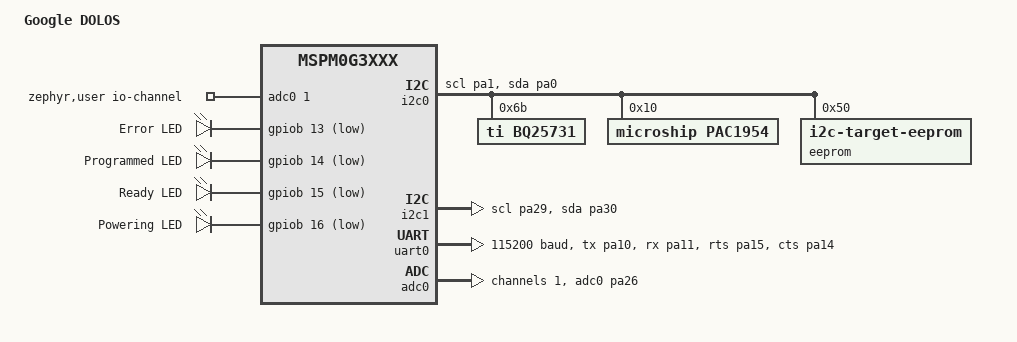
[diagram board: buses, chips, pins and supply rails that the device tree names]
/* Copyright 2024 The ChromiumOS Authors
 * Use of this source code is governed by a BSD-style license that can be
 * found in the LICENSE file.
 */

/dts-v1/;

#include <ti/mspm0g1x0x_g3x0x/mspm0g3507.dtsi>
#include "mspm0g3507-pinctrl.dtsi"
#include "dt-bindings/adc/mspm0_adc.h"

#include <freq.h>

/ {
	model = "Google DOLOS";
	compatible = "google,dolos", "ti,mspm0g3507", "ti,mspm0g3xxx";

	chosen {
		zephyr,sram = &sram0;
		zephyr,flash = &flash0;
		zephyr,console = &uart0;
		zephyr,shell-uart = &uart0;
	};

	zephyr,user {
		io-channels = <&adc0 1>;
	};

	leds: leds {
		compatible = "gpio-leds";
		lederr: led_error {
			gpios = <&gpiob 13 GPIO_ACTIVE_LOW>;
			label = "Error LED";
		};
		ledprg: led_programmed {
			gpios = <&gpiob 14 GPIO_ACTIVE_LOW>;
			label = "Programmed LED";
		};
		ledrdy: led_ready {
			gpios = <&gpiob 15 GPIO_ACTIVE_LOW>;
			label = "Ready LED";
		};
		ledpwr: led_powering {
			gpios = <&gpiob 16 GPIO_ACTIVE_LOW>;
			label = "Powering LED";
		};
	};

	ctrl-pins {
		compatible = "ctrl-pins";
		output_enable: output_enable {
			gpios = <&gpiob 12 GPIO_ACTIVE_HIGH>;
			label = "Dolos output enable control pin";
		};
		system_present: system_present {
			gpios = <&gpioa 13 GPIO_ACTIVE_HIGH>;
			label = "System present input signal";
		};
		efuse_pg: efuse_pg {
			gpios = <&gpiob 27 GPIO_ACTIVE_HIGH>;
			label = "EFUSE power good input signal";
		};
		bq_charge_ok: bq_charge_ok {
			gpios = <&gpioa 17 GPIO_ACTIVE_HIGH>;
			label = "BQ Charge OK input signal";
		};
	};
};

&i2c0 {
	pinctrl-0 = <&i2c0_scl_pa1 &i2c0_sda_pa0>;
	pinctrl-names = "default";
	status = "okay";

	bq25731: bq25731@6b {
		compatible = "ti,bq25731";
		reg = <0x6b>;
	};

	pac1954: pac1954@10 {
		compatible = "microship,pac1954";
		reg = <0x10>;
	};

	eeprom: eeprom@50 {
		compatible = "zephyr,i2c-target-eeprom";
		reg = <0x50>;
		size = <1024>;
	};
};

&i2c1 {
	pinctrl-0 = <&i2c1_scl_pa29 &i2c1_sda_pa30>;
	pinctrl-names = "default";
	status = "okay";
};

&cpu0 {
	clock-frequency = <DT_FREQ_M(32)>;
};

&gpioa {
	status = "okay";
};

&gpiob {
	status = "okay";
};

&uart0 {
	status = "okay";
	current-speed = <115200>;
	pinctrl-0 = <&uart0_tx_pa10 &uart0_rx_pa11 &uart0_rts_pa15 &uart0_cts_pa14>;
	pinctrl-names = "default";
	hw-flow-control;
};

&adc0 {
	status = "okay";
	ti,clk-source = <MSP_ADC_CLOCK_ULPCLK>;
	ti,clk-divider = <1>;
	ti,clk-range = <MSP_ADC_CLOCK_RANGE_24TO32>;

	pinctrl-0 = <&adc0_pa26>;
	pinctrl-names = "default";

	#address-cells = <1>;
	#size-cells = <0>;

	channel@1 {
		reg = <1>;
		zephyr,gain = "ADC_GAIN_1";
		zephyr,reference = "ADC_REF_VDD_1";
		zephyr,acquisition-time =<ADC_ACQ_TIME(ADC_ACQ_TIME_TICKS, 4)>;
		zephyr,resolution = <12>;
	};
};

&clkmux {
	clock-source = <&pll>;
	clock-frequency = <DT_FREQ_M(80)>;
	uclk-div = <2>;
};
